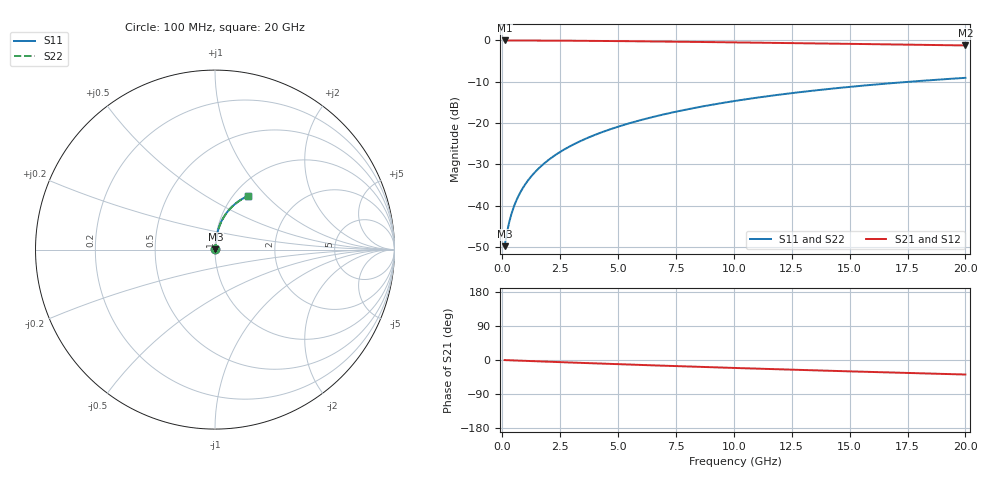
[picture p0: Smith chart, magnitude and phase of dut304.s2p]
! Touchstone file exported from HFSS 2024.1.0
!  File:  C:/UserFiles/LocalFiles/RDL_TSV_Batchsim/temp_RDL_bottom_304_1779610339.aedt
!  Generated:  04:14:49 PM May 24, 2026
!  Design:  RDL_bottom
!  Project:  temp_RDL_bottom_304_1779610339
!  Setup:  Setup1
!  Solution:  Sweep
! Variables:
!  dtsv = 10.80580581um
!  hbump = 3um
!  htsv = 80.86um
!  ldown = 554.37um
!  lrdl = 100um
!  p = 40
!  p1 = 44.53um
!  rhole = 1um
!  t = 450um
!  tdown = 4.22um
!  trdl = 3.915915916um
!  wdown = 18.98um
!  wrdl = 20um
# GHz S MA R 50.000000
! Terminal data exported
! Port[1] = RDL1_T1
! Port[2] = RDL1_T2
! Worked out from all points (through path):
!   200 points, 100 MHz to 20 GHz, reference 50 ohm
!   highest |S21| = -0.02 dB at 100 MHz (marker M1); lowest = -1.2 dB at 20 GHz (marker M2)
!   group delay of S21, straight-line fit = 5.29 ps
!   lowest |S11| = -49.7 dB at 100 MHz (marker M3), VSWR 1.01, Z = 50.3 + j0.196 ohm
!   |S11| at or under -10 dB: start of sweep to 17.59 GHz
!   |S22| runs from -49.7 to -9.1 dB; largest |S21 - S12| = 4.4e-15
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0.1  0.003255 36.8  0.9974 -0.2  0.9974 -0.2  0.003255 36.8
! Gamma 0 0 0 0
! Port Impedance 50 0 50 0
0.2  0.004719 54.8  0.9973 -0.5  0.9973 -0.5  0.004719 54.8
0.3  0.006377 63.4  0.9971 -0.7  0.9971 -0.7  0.006378 63.4
0.4  0.008073 68.2  0.9969 -0.9  0.9969 -0.9  0.008074 68.2
0.5  0.009774 71.4  0.9968 -1.2  0.9968 -1.2  0.009776 71.4
0.6  0.01148 73.7  0.9966 -1.4  0.9966 -1.4  0.01148 73.7
0.8  0.01491 76.7  0.9963 -1.8  0.9963 -1.8  0.01491 76.7
1.1  0.0201 79.4  0.9959 -2.5  0.9959 -2.5  0.0201 79.4
1.3  0.02359 80.6  0.9955 -3.0  0.9955 -3.0  0.02359 80.5
1.6  0.02886 81.7  0.9948 -3.6  0.9948 -3.6  0.02886 81.7
2.1  0.03772 82.7  0.9934 -4.7  0.9934 -4.7  0.03772 82.6
2.7  0.04846 83.1  0.9913 -6.1  0.9913 -6.1  0.04845 83.1
3.5  0.06293 83.1  0.9879 -7.8  0.9879 -7.8  0.06291 83.0
4.2  0.07572 82.7  0.9844 -9.3  0.9844 -9.3  0.0757 82.7
5  0.09049 82.1  0.9799 -11.0  0.9799 -11.0  0.09046 82.0
5.9  0.1073 81.1  0.9744 -12.9  0.9744 -12.9  0.1072 81.1
6.8  0.1242 80.0  0.9685 -14.7  0.9685 -14.7  0.1241 80.0
8.4  0.1544 77.7  0.9574 -17.9  0.9574 -17.9  0.1543 77.7
10.1  0.1863 75.1  0.945 -21.1  0.945 -21.1  0.1861 75.0
13.4  0.2464 69.5  0.9199 -27.2  0.9199 -27.2  0.2461 69.4
16.7  0.3021 63.7  0.8941 -32.9  0.8941 -32.9  0.3018 63.7
20  0.3524 58.2  0.8683 -38.3  0.8683 -38.3  0.3521 58.1
